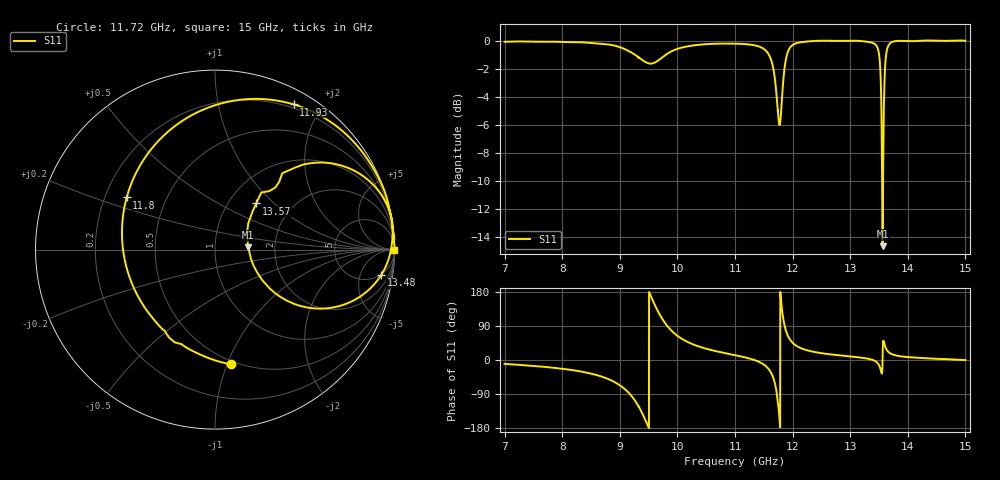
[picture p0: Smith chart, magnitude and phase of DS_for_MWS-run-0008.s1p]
! TOUCHSTONE file generated by CST DESIGN STUDIO
! Date and time: Mon Feb 10 16:42:59 2025
! Project name: C:\Work\MatlabApps\UnitCellType2OptimizationMatlab\CST\unitcell.cst
! Tree item: Tasks\Sweep1\SPara1\S-Parameters
! Header version: 2024
! Port assignment regex: !\s*Touchstone port\s*([0-9]+)\s*=\s*(CST MWS port|CST DES external port|CST DES block port)\s*(.+)\s* \(\"(.*)\"\)(\s*mode\s*([0-9]+))?.*
! Touchstone port assignment:
! Touchstone port 1 = CST DES external port 1 ("")
# GHz S MA R 50
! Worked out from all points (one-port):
!   4001 points, 7 GHz to 15 GHz, reference 50 ohm
!   lowest |S11| = -14.7 dB at 13.56 GHz (marker M1), VSWR 1.45, Z = 72.6 + j2.01 ohm
!   |S11| at or under -10 dB: 13.554 GHz to 13.5708 GHz (16.8 MHz wide, 0.124 % of centre)
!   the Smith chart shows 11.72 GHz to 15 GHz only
!   S11 on the Smith chart (normalised r, x): 11.72 GHz: 0.47, -1.03; 11.8 GHz: 0.29, +0.25; 11.93 GHz: 0.16, +1.67; 13.48 GHz: 5, -11; 13.57 GHz: 1.34, +0.78; 15 GHz: open
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7  0.9904 -10.3
8  0.989 -23.1
8.636  0.9758 -41.4
9  0.9477 -66.7
9.282  0.8853 -111.5
9.506  0.8292 -179.8
9.724  0.8671 111.7
10  0.9346 63.8
10.37  0.9663 35.8
11  0.9754 12.8
11.548  0.9152 -18.0
11.646  0.8286 -39.8
11.72  0.6451 -82.2
11.768  0.5021 -148.0
11.804  0.5714 149.4
11.858  0.7916 92.8
11.926  0.9201 61.5
12  0.9648 45.5
12.28  0.9939 24.5
13  0.9998 9.5
13.48  0.9358 -8.8
13.522  0.7972 -22.0
13.562  0.1851 4.1
13.572  0.3447 48.2
13.612  0.8428 33.9
13.682  0.9729 18.9
14  0.9958 7.7
15  0.9997 -0.1
